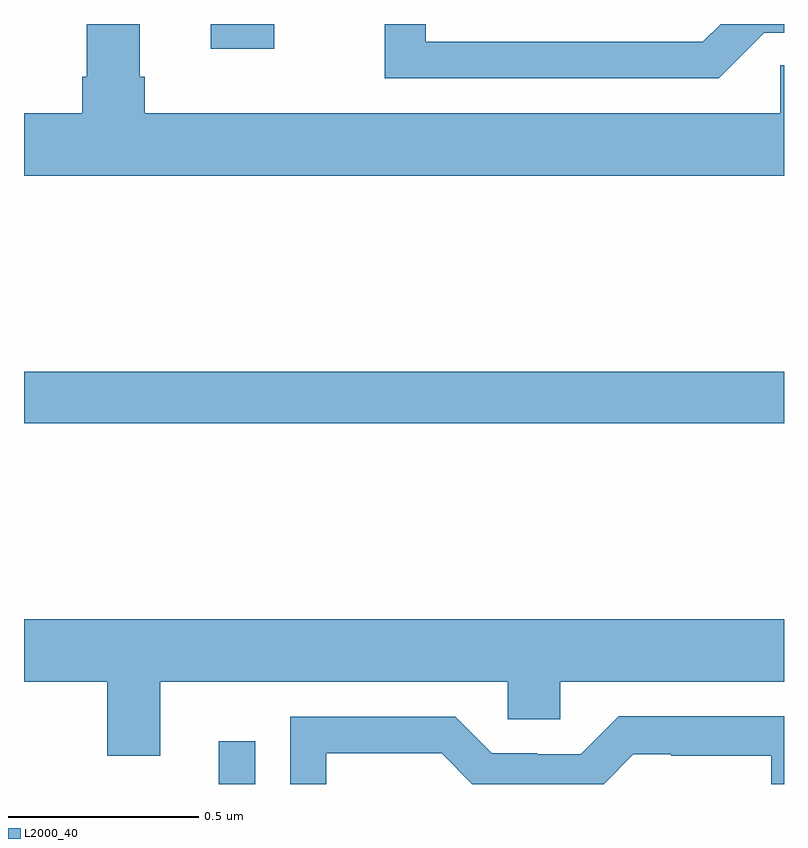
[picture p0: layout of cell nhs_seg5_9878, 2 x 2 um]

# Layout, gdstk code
import gdstk
lib = gdstk.Library(unit=1e-6, precision=1e-09)
def R(c, l, rs):  # rectangles x0, y0, x1, y1
    for r in rs: c.add(gdstk.rectangle(r[:2], r[2:], *l))
def P(c, l, *ps):  # polygons
    for p in ps: c.add(gdstk.Polygon(p, *l))
L2000_40 = (2000, 40)

nhs_seg5_9878 = lib.new_cell('nhs_seg5_9878')
R(nhs_seg5_9878, L2000_40, [(239.513,881.799,239.609,881.911), (239,882.748,241,882.884), (239.492,883.734,239.658,883.799)])
P(nhs_seg5_9878, L2000_40, [(240.948,883.776),(241,883.776),(241,883.799),(240.833,883.799),(240.786,883.752),(240.057,883.752),(240.057,883.799),(239.949,883.799),(239.949,883.656),(240.828,883.656)],
  [(241,883.691),(240.99,883.691),(240.99,883.564),(239.318,883.564),(239.318,883.66),(239.305,883.66),(239.305,883.799),(239.165,883.799),(239.165,883.66),(239.153,883.66),(239.153,883.564),(239,883.564),(239,883.4),(241,883.4)],
  [(239.359,882.068),(240.273,882.068),(240.273,881.97),(240.411,881.97),(240.411,882.068),(241,882.068),(241,882.232),(239,882.232),(239,882.068),(239.219,882.068),(239.219,881.874),(239.359,881.874)],
  [(239.796,881.88),(240.099,881.88),(240.18,881.799),(240.525,881.799),(240.603,881.877),(240.703,881.877),(240.703,881.873),(240.966,881.873),(240.966,881.799),(241,881.799),(241,881.977),(240.565,881.977),(240.465,881.877),(240.35,881.877),(240.35,881.88),(240.231,881.88),(240.135,881.976),(239.7,881.976),(239.7,881.799),(239.796,881.799)])

lib.write_gds('nhs_seg5_9878.gds')
